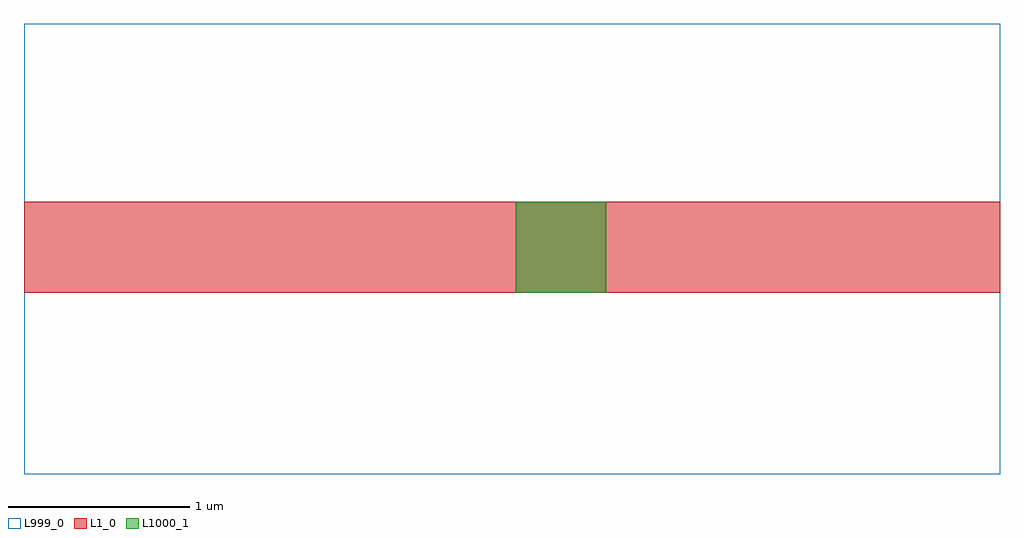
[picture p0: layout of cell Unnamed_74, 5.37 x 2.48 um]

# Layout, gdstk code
from math import pi, radians
import gdstk
lib = gdstk.Library(unit=1e-6, precision=1e-09)
def R(c, l, rs):  # rectangles x0, y0, x1, y1
    for r in rs: c.add(gdstk.rectangle(r[:2], r[2:], *l))
L1_0 = (1, 0)
L999_0 = (999, 0)
L1000_1 = (1000, 1)

bbox_cextend_ports_cext_ = lib.new_cell('bbox_Cextend_ports_Cext_0dc3d973')
R(bbox_cextend_ports_cext_, L999_0, [(-2.707,-1,2.667,1.48)])

taper_l2_w0p5_w0p5_pnon_ = lib.new_cell('taper_L2_W0p5_W0p5_PNon_0d3a5800')
R(taper_l2_w0p5_w0p5_pnon_, L1_0, [(0,-0.25,2,0.25)])

unnamed_71 = lib.new_cell('Unnamed_71')
R(unnamed_71, L1000_1, [(0,0,0.5,0.5)])

unnamed_72_1 = lib.new_cell('Unnamed_72$1')
R(unnamed_72_1, L1_0, [(0,0,0.5,0.5)])
unnamed_72_1.add(gdstk.Reference(taper_l2_w0p5_w0p5_pnon_, (-2,0.25)))
unnamed_72_1.add(gdstk.Reference(taper_l2_w0p5_w0p5_pnon_, (2.5,0.25), rotation=pi))
unnamed_72_1.add(gdstk.Reference(unnamed_71, (0,0)))

straight_l0p16666666666_ = lib.new_cell('straight_L0p16666666666_146bd644')
R(straight_l0p16666666666_, L1_0, [(0,-0.25,0.167,0.25)])

extend_ports_cunnamed_7_ = lib.new_cell('extend_ports_CUnnamed_7_1ac9dc53')
extend_ports_cunnamed_7_.add(gdstk.Reference(unnamed_72_1, (0,0)))
extend_ports_cunnamed_7_.add(gdstk.Reference(straight_l0p16666666666_, (2.5,0.25)))

straight_l0p70666666666_ = lib.new_cell('straight_L0p70666666666_c0d133bc')
R(straight_l0p70666666666_, L1_0, [(0,-0.25,0.707,0.25)])

extend_ports_cextend_po_ = lib.new_cell('extend_ports_Cextend_po_6bef68bb')
extend_ports_cextend_po_.add(gdstk.Reference(extend_ports_cunnamed_7_, (0,0)))
extend_ports_cextend_po_.add(gdstk.Reference(straight_l0p70666666666_, (-2,0.25), rotation=pi))

unnamed_74 = lib.new_cell('Unnamed_74')
unnamed_74.add(gdstk.Reference(bbox_cextend_ports_cext_, (0,0)))
unnamed_74.add(gdstk.Reference(extend_ports_cextend_po_, (0,0)))

lib.write_gds('Unnamed_74.gds')
